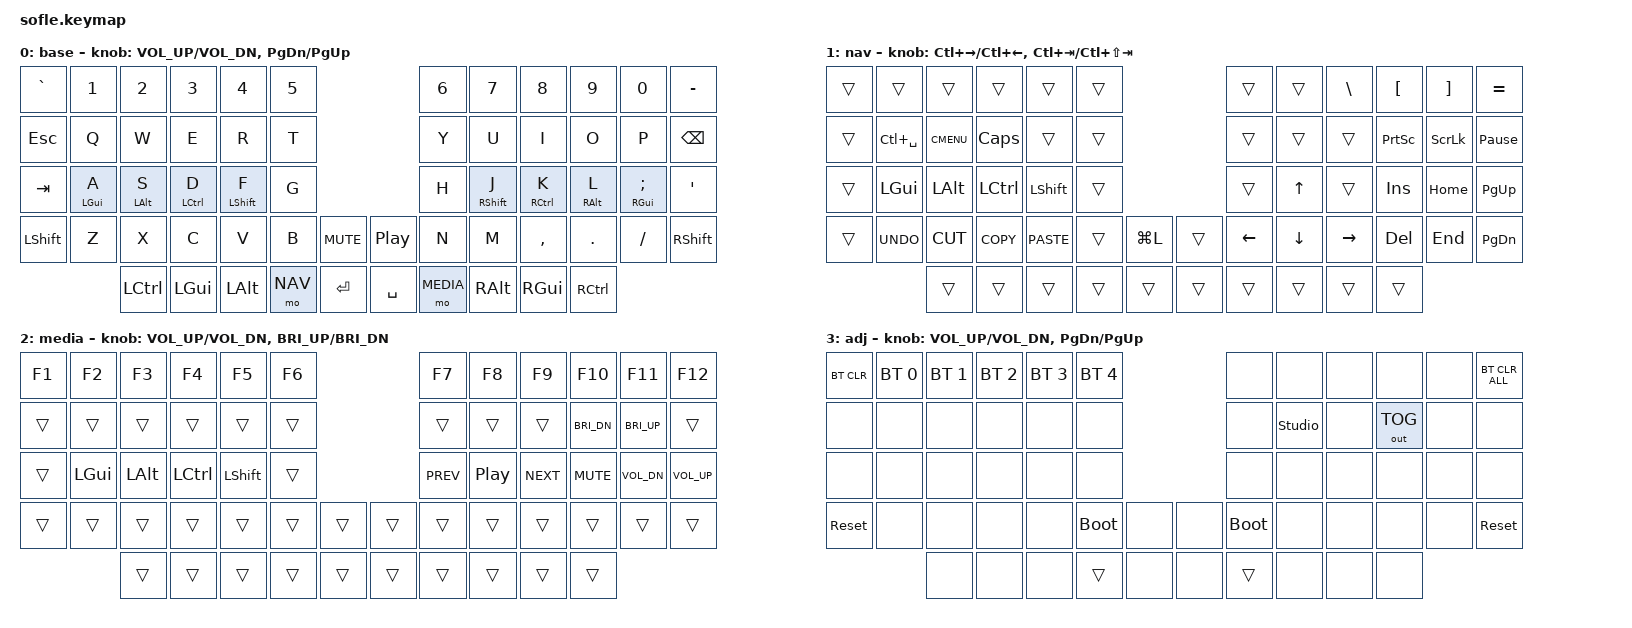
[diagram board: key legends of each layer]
/*
 * Sofle MX 58 — a TKL in two halves.
 *
 * The guiding rule is that the base layer should be the TKL you already know:
 * unshifted QWERTY where a TKL has it, the same bottom-row modifier order, and
 * the nav cluster on NAV in the same 3-wide block, same relative positions.
 * Departures from that are only where 6 columns per half physically cannot
 * hold what a TKL holds, and each one is called out below.
 *
 * Reference points from the rest of this repo:
 *   nvim leader   = <Space>          -> Space is a thumb, unmodified
 *   tmux prefix   = Ctrl+Space       -> same thumb, plus a home-row Ctrl
 *   Ctrl+hjkl     = nvim window nav  -> home-row Ctrl + base-layer hjkl
 *   Alt+hjkl      = tmux pane nav    -> home-row Alt  + base-layer hjkl
 *   jk            = Esc              -> hardware combo, works shell-wide
 *
 * KEY POSITIONS (index into the bindings array, used by the HRM guards)
 *
 *   0  1  2  3  4  5                        6  7  8  9 10 11
 *  12 13 14 15 16 17                       18 19 20 21 22 23
 *  24 25 26 27 28 29                       30 31 32 33 34 35
 *  36 37 38 39 40 41  42              43   44 45 46 47 48 49
 *        50 51 52 53 54              55 56 57 58 59
 *
 *  42/43 are the encoder push-buttons. 50-59 are the thumbs.
 */

#include <behaviors.dtsi>
#include <dt-bindings/zmk/keys.h>
#include <dt-bindings/zmk/bt.h>
#include <dt-bindings/zmk/outputs.h>

#define BASE  0
#define NAV   1
#define MEDIA 2
#define ADJ   3

/* Cross-hand guards. A home-row mod may only resolve as a hold if the next
 * key comes from the OTHER hand (thumbs count as either). Without this,
 * rolling a same-hand pair like "sd" or "df" at speed fires Alt/Ctrl instead
 * of typing letters — which is the single reason most people give up on
 * home-row mods. */
#define RIGHT_SIDE  6  7  8  9 10 11 18 19 20 21 22 23 30 31 32 33 34 35 43 44 45 46 47 48 49
#define LEFT_SIDE   0  1  2  3  4  5 12 13 14 15 16 17 24 25 26 27 28 29 36 37 38 39 40 41 42
#define THUMBS     50 51 52 53 54 55 56 57 58 59

/ {
    behaviors {
        /* Home-row mods, GACS: GUI / Alt / Ctrl / Shift going inward, so the
         * strongest fingers carry Ctrl and Shift.
         *
         * flavor "balanced"      — hold wins only if another key is pressed
         *                          AND released inside the term, so a slow
         *                          deliberate letter still types.
         * require-prior-idle-ms  — a mod cannot trigger mid-burst; 150ms of
         *                          quiet is the price of a hold. This is the
         *                          other half of the anti-misfire story.
         * hold-trigger-on-release — lets you stack mods (Ctrl+Shift+key)
         *                          instead of the first one resolving early.
         * quick-tap-ms           — tap-then-hold repeats the letter, so held
         *                          `j` in nvim still scrolls.
         */
        hml: homerow_mod_left {
            compatible = "zmk,behavior-hold-tap";
            #binding-cells = <2>;
            flavor = "balanced";
            tapping-term-ms = <200>;
            quick-tap-ms = <175>;
            require-prior-idle-ms = <150>;
            bindings = <&kp>, <&kp>;
            hold-trigger-key-positions = <RIGHT_SIDE THUMBS>;
            hold-trigger-on-release;
        };

        hmr: homerow_mod_right {
            compatible = "zmk,behavior-hold-tap";
            #binding-cells = <2>;
            flavor = "balanced";
            tapping-term-ms = <200>;
            quick-tap-ms = <175>;
            require-prior-idle-ms = <150>;
            bindings = <&kp>, <&kp>;
            hold-trigger-key-positions = <LEFT_SIDE THUMBS>;
            hold-trigger-on-release;
        };
    };

    combos {
        compatible = "zmk,combos";

        /* j+k -> Esc, at the hardware level rather than as an nvim mapping,
         * so it also escapes in nvim-bash vi mode, in a bare `vi` on a box
         * you don't control, and in any TUI that wants Esc. (Esc is also on
         * its own key at the TKL position, top-left — this is the fast one.)
         *
         * 45ms is deliberately tighter than the default: "jk" as a real
         * letter pair is vanishingly rare in English, but a roll through j
         * and k while typing fast is not, and require-prior-idle-ms keeps it
         * from firing mid-word at all. */
        combo_esc {
            bindings = <&kp ESC>;
            key-positions = <31 32>;
            timeout-ms = <45>;
            require-prior-idle-ms = <100>;
            layers = <BASE>;
        };
    };

    /* NAV + MEDIA held together = ADJ. Nothing on ADJ is a typing key, so it
     * costs no base-layer real estate to reach radios and bootloader. */
    conditional_layers {
        compatible = "zmk,conditional-layers";
        adjust_layer {
            if-layers = <NAV MEDIA>;
            then-layer = <ADJ>;
        };
    };

    keymap {
        compatible = "zmk,keymap";

        base_layer {
            display-name = "base";
// Unshifted QWERTY, TKL positions throughout. Shift gives the usual second
// legend on every key (` ~, 1 !, , <, . >, / ?, ; :, ' ", [ {, ] }).
//
// The one thing 6 columns per half cannot hold is TKL's right-side overflow:
// a TKL row has `[ ] \` after P and `=` after `-`, and there is nowhere to put
// them. All four move to NAV, contiguous on the number row they already sit
// under on a TKL: NAV+8 `\`, NAV+9 `[`, NAV+0 `]`, NAV+- `=`. Shift still
// works on top of that, because `[` and `{` are the same HID key -- so
// NAV+9 is `[` and NAV+Shift+9 is `{`, no separate binding needed.
//
// The two inner keys by the encoders are the ENCODER PUSH-BUTTONS, not normal
// keys: awkward to hit deliberately, easy to hit while turning the knob. They
// get things that are harmless to fire by accident and that pair with the
// knob beside them -- mute next to the volume knob, play/pause next to the
// other. Never put a typing key here.
//
// Bottom row is TKL's own order: Ctrl Win Alt ... Alt Win Ctrl.
// ---------------------------------------------------------------------------------------------------------------
// |  ` ~ | 1 ! | 2 @ | 3 # | 4 $ | 5 % |               | 6 ^ | 7 & | 8 * | 9 ( | 0 ) |  - _  |
// |  ESC |  Q  |  W  |  E  |  R  |  T  |               |  Y  |  U  |  I  |  O  |  P  | BKSPC |
// |  TAB |  A  |  S  |  D  |  F  |  G  |               |  H  |  J  |  K  |  L  | ; : |  ' "  |
// | SHIFT|  Z  |  X  |  C  |  V  |  B  | MUTE| |PLAY |  N  |  M  | , < | . > | / ? | SHIFT |
//              | CTL | GUI | ALT | NAV | ENT | | SPC  |MEDIA| ALT | GUI | CTL |
//                      home row: GUI ALT CTL SFT           SFT CTL ALT GUI
            bindings = <
&kp GRAVE &kp N1       &kp N2       &kp N3        &kp N4        &kp N5                              &kp N6    &kp N7        &kp N8        &kp N9       &kp N0          &kp MINUS
&kp ESC   &kp Q        &kp W        &kp E         &kp R         &kp T                               &kp Y     &kp U         &kp I         &kp O        &kp P           &kp BSPC
&kp TAB   &hml LGUI A  &hml LALT S  &hml LCTRL D  &hml LSHFT F  &kp G                               &kp H     &hmr RSHFT J  &hmr RCTRL K  &hmr RALT L  &hmr RGUI SEMI  &kp SQT
&kp LSHFT &kp Z        &kp X        &kp C         &kp V         &kp B      &kp C_MUTE   &kp C_PP    &kp N     &kp M         &kp COMMA     &kp DOT      &kp FSLH        &kp RSHFT
                       &kp LCTRL    &kp LGUI      &kp LALT      &mo NAV    &kp RET      &kp SPACE   &mo MEDIA &kp RALT      &kp RGUI      &kp RCTRL
            >;
            /* left knob: volume     right knob: page scroll */
            sensor-bindings = <&inc_dec_kp C_VOL_UP C_VOL_DN &inc_dec_kp PG_DN PG_UP>;
        };

        nav_layer {
            display-name = "nav";
// The TKL nav island, kept as an island. PrtSc/ScrLk/Pause over Ins/Home/PgUp
// over Del/End/PgDn, three wide, in the three rightmost columns — same shape
// and same relative positions as the block to the right of a TKL's main
// block, so PgUp sits directly above PgDn in the outermost column.
//
// The `[ ] \ =` that a TKL has and this board has no room for live on the
// number row here, under the digits they neighbour on a TKL. Shift composes
// normally: NAV+Shift+9 is `{`.
//
// Arrows are the TKL inverted-T, not hjkl: on the base layer hjkl are already
// hjkl for vim, and this layer's arrows are for everything that ISN'T vim —
// browsers, dialogs, spreadsheets — which is exactly where the TKL shape is
// the one in your fingers.
//
// Left hand mirrors the home-row mods as plain mods, so Ctrl+Shift+Left and
// friends work without leaving the layer.
// ---------------------------------------------------------------------------------------------------------------
// |      |      |      |      |      |      |             |      |      |  \ |  |  [ { |  ] } | = + |
// |      | tmux | MENU | CAPS |      |      |             |      |      |      | PSCR | SLCK |PAUSE|
// |      | GUI  | ALT  | CTRL | SHFT |      |             |      |  UP  |      | INS  | HOME |PG UP|
// |      | UNDO | CUT  | COPY | PASTE|      |WIN+L|  |    | LEFT | DOWN | RIGHT| DEL  | END  |PG DN|
//               |      |      |      |      |    |  |     |      |      |      |      |
            bindings = <
&trans  &trans        &trans       &trans     &trans      &trans                        &trans     &trans     &kp BSLH    &kp LBKT  &kp RBKT   &kp EQUAL
&trans  &kp LC(SPACE) &kp K_CMENU  &kp CAPS   &trans      &trans                        &trans     &trans     &trans      &kp PSCRN &kp SLCK   &kp PAUSE_BREAK
&trans  &kp LGUI      &kp LALT     &kp LCTRL  &kp LSHFT   &trans                        &trans     &kp UP     &trans      &kp INS   &kp HOME   &kp PG_UP
&trans  &kp K_UNDO    &kp K_CUT    &kp K_COPY &kp K_PASTE &trans   &kp LG(L) &trans     &kp LEFT   &kp DOWN   &kp RIGHT   &kp DEL   &kp END    &kp PG_DN
                      &trans       &trans     &trans      &trans   &trans    &trans     &trans     &trans     &trans      &trans
            >;
            /* left knob: word-wise cursor    right knob: cycle tabs */
            sensor-bindings = <&inc_dec_kp LC(RIGHT) LC(LEFT) &inc_dec_kp LC(TAB) LC(LS(TAB))>;
        };

        media_layer {
            display-name = "media";
// F1-F12 straight across the number row, in the same order and the same place
// as a TKL's function row sits above its number row — so F5 and F12 are where
// your hand already goes.
//
// Transport and volume sit on the right home row, one-handed: the fingers that
// rest on HJKL get prev/play/next, and mute/vol-down/vol-up follow on the same
// row. Brightness is the row above.
// ---------------------------------------------------------------------------------------------------------------
// |  F1  |  F2  |  F3  |  F4  |  F5  |  F6  |             |  F7  |  F8  |  F9  | F10  | F11  | F12  |
// |      |      |      |      |      |      |             |      |      |      | BRI- | BRI+ |      |
// |      | GUI  | ALT  | CTRL | SHFT |      |             | PREV | PLAY | NEXT | MUTE | VOL- | VOL+ |
// |      |      |      |      |      |      |    |  |     |      |      |      |      |      |      |
//               |      |      |      |      |    |  |     |      |      |      |      |
            bindings = <
&kp F1  &kp F2    &kp F3    &kp F4     &kp F5     &kp F6                          &kp F7      &kp F8    &kp F9      &kp F10     &kp F11       &kp F12
&trans  &trans    &trans    &trans     &trans     &trans                          &trans      &trans    &trans      &kp C_BRI_DN &kp C_BRI_UP &trans
&trans  &kp LGUI  &kp LALT  &kp LCTRL  &kp LSHFT  &trans                          &kp C_PREV  &kp C_PP  &kp C_NEXT  &kp C_MUTE  &kp C_VOL_DN  &kp C_VOL_UP
&trans  &trans    &trans    &trans     &trans     &trans   &trans    &trans       &trans      &trans    &trans      &trans      &trans        &trans
                  &trans    &trans     &trans     &trans   &trans    &trans       &trans      &trans    &trans      &trans
            >;
            /* left knob: volume    right knob: screen brightness */
            sensor-bindings = <&inc_dec_kp C_VOL_UP C_VOL_DN &inc_dec_kp C_BRI_UP C_BRI_DN>;
        };

        adj_layer {
            display-name = "adj";
// Radios, bootloader, and the ZMK Studio unlock. `&studio_unlock` sits on U
// ("unlock") — Studio refuses every edit until it is pressed, and it is
// deliberately three keys deep so it cannot be hit by accident.
// ---------------------------------------------------------------------------------------------------------------
// | BTCLR | BT1 | BT2 | BT3 | BT4 | BT5 |            |     |UNLOCK|     | OUT |     | BTCLRALL |
// ---------------------------------------------------------------------------------------------------------------
            bindings = <
&bt BT_CLR  &bt BT_SEL 0  &bt BT_SEL 1  &bt BT_SEL 2  &bt BT_SEL 3  &bt BT_SEL 4                     &none  &none           &none  &none        &none  &bt BT_CLR_ALL
&none       &none         &none         &none         &none         &none                            &none  &studio_unlock  &none  &out OUT_TOG &none  &none
&none       &none         &none         &none         &none         &none                            &none  &none           &none  &none        &none  &none
&sys_reset  &none         &none         &none         &none         &bootloader  &none     &none     &bootloader &none      &none  &none        &none  &sys_reset
                          &none         &none         &none         &trans       &none     &none     &trans      &none      &none  &none
            >;
            sensor-bindings = <&inc_dec_kp C_VOL_UP C_VOL_DN &inc_dec_kp PG_DN PG_UP>;
        };

        /* Empty slots that exist only so ZMK Studio has somewhere to put a
         * new layer. Studio cannot create layers that devicetree did not
         * declare, and adding one later means a reflash — which is exactly
         * the thing Studio is supposed to save you. Cost is a few bytes. */
        extra1 { status = "reserved"; };
        extra2 { status = "reserved"; };
    };
};
